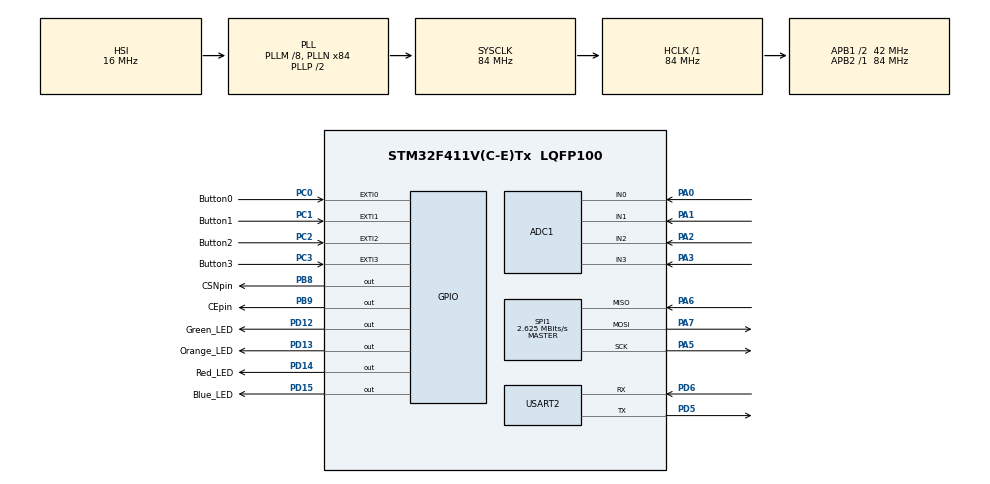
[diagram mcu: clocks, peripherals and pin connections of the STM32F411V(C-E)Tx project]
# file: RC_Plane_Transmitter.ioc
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ADC1.Channel-0\#ChannelRegularConversion=ADC_CHANNEL_0
ADC1.Channel-1\#ChannelRegularConversion=ADC_CHANNEL_1
ADC1.Channel-2\#ChannelRegularConversion=ADC_CHANNEL_2
ADC1.Channel-3\#ChannelRegularConversion=ADC_CHANNEL_3
ADC1.DMAContinuousRequests=ENABLE
ADC1.EOCSelection=ADC_EOC_SEQ_CONV
ADC1.ExternalTrigConv=ADC_EXTERNALTRIGCONV_T2_TRGO
ADC1.InjNumberOfConversion=0
ADC1.NbrOfConversion=4
ADC1.NbrOfConversionFlag=1
ADC1.Rank-0\#ChannelRegularConversion=1
ADC1.Rank-1\#ChannelRegularConversion=2
ADC1.Rank-2\#ChannelRegularConversion=3
ADC1.Rank-3\#ChannelRegularConversion=4
ADC1.SamplingTime-0\#ChannelRegularConversion=ADC_SAMPLETIME_28CYCLES
ADC1.SamplingTime-1\#ChannelRegularConversion=ADC_SAMPLETIME_28CYCLES
ADC1.SamplingTime-2\#ChannelRegularConversion=ADC_SAMPLETIME_28CYCLES
ADC1.SamplingTime-3\#ChannelRegularConversion=ADC_SAMPLETIME_28CYCLES
ADC1.master=1
Dma.ADC1.0.Direction=DMA_PERIPH_TO_MEMORY
Dma.ADC1.0.FIFOMode=DMA_FIFOMODE_DISABLE
Dma.ADC1.0.Instance=DMA2_Stream0
Dma.ADC1.0.MemDataAlignment=DMA_MDATAALIGN_WORD
Dma.ADC1.0.MemInc=DMA_MINC_ENABLE
Dma.ADC1.0.Mode=DMA_CIRCULAR
Dma.ADC1.0.PeriphDataAlignment=DMA_PDATAALIGN_WORD
Dma.ADC1.0.PeriphInc=DMA_PINC_DISABLE
Dma.ADC1.0.Priority=DMA_PRIORITY_HIGH
Dma.Request0=ADC1
Mcu.Family=STM32F4
Mcu.Name=STM32F411V(C-E)Tx
Mcu.Package=LQFP100
NVIC.ADC_IRQn=true\:0\:0\:false\:false\:true\:true\:true
NVIC.DMA2_Stream0_IRQn=true\:0\:0\:false\:false\:true\:false\:true
NVIC.EXTI0_IRQn=true\:0\:0\:false\:false\:true\:true\:true
NVIC.EXTI1_IRQn=true\:0\:0\:false\:false\:true\:true\:true
NVIC.EXTI2_IRQn=true\:0\:0\:false\:false\:true\:true\:true
NVIC.EXTI3_IRQn=true\:0\:0\:false\:false\:true\:true\:true
NVIC.PriorityGroup=NVIC_PRIORITYGROUP_0
NVIC.TIM1_UP_TIM10_IRQn=true\:0\:0\:false\:false\:true\:false\:true
NVIC.TimeBase=TIM1_UP_TIM10_IRQn
NVIC.TimeBaseIP=TIM1
PA0-WKUP.Signal=ADCx_IN0
PA1.Signal=ADCx_IN1
PA2.Signal=ADCx_IN2
PA3.Signal=ADCx_IN3
PA5.Mode=Full_Duplex_Master
PA5.Signal=SPI1_SCK
PA6.Mode=Full_Duplex_Master
PA6.Signal=SPI1_MISO
PA7.Mode=Full_Duplex_Master
PA7.Signal=SPI1_MOSI
PB8.GPIO_Label=CSNpin
PB8.Signal=GPIO_Output
PB9.GPIO_Label=CEpin
PB9.Signal=GPIO_Output
PC0.GPIO_Label=Button0
PC0.Signal=GPXTI0
PC1.GPIO_Label=Button1
PC1.Signal=GPXTI1
PC2.GPIO_Label=Button2
PC2.Signal=GPXTI2
PC3.GPIO_Label=Button3
PC3.Signal=GPXTI3
PD12.GPIO_Label=Green_LED
PD12.Signal=GPIO_Output
PD13.GPIO_Label=Orange_LED
PD13.Signal=GPIO_Output
PD14.GPIO_Label=Red_LED
PD14.Signal=GPIO_Output
PD15.GPIO_Label=Blue_LED
PD15.Signal=GPIO_Output
PD5.Mode=Asynchronous
PD5.Signal=USART2_TX
PD6.Mode=Asynchronous
PD6.Signal=USART2_RX
PH0\ -\ OSC_IN.Mode=HSE-External-Oscillator
PH0\ -\ OSC_IN.Signal=RCC_OSC_IN
PH1\ -\ OSC_OUT.Mode=HSE-External-Oscillator
PH1\ -\ OSC_OUT.Signal=RCC_OSC_OUT
ProjectManager.HeapSize=0x200
ProjectManager.StackSize=0x400
ProjectManager.TargetToolchain=STM32CubeIDE
RCC.48MHZClocksFreq_Value=21000000
RCC.AHBFreq_Value=84000000
RCC.APB1CLKDivider=RCC_HCLK_DIV2
RCC.APB1Freq_Value=42000000
RCC.APB1TimFreq_Value=84000000
RCC.APB2Freq_Value=84000000
RCC.APB2TimFreq_Value=84000000
RCC.CortexFreq_Value=84000000
RCC.HCLKFreq_Value=84000000
RCC.HSE_VALUE=8000000
RCC.HSI_VALUE=16000000
RCC.LSE_VALUE=32768
RCC.PLLI2SM=5
RCC.PLLI2SN=200
RCC.PLLM=8
RCC.PLLN=84
RCC.PLLQ=8
RCC.SYSCLKFreq_VALUE=84000000
RCC.SYSCLKSource=RCC_SYSCLKSOURCE_PLLCLK
RCC.VCOOutputFreq_Value=168000000
SH.ADCx_IN0.0=ADC1_IN0,IN0
SH.ADCx_IN1.0=ADC1_IN1,IN1
SH.ADCx_IN2.0=ADC1_IN2,IN2
SH.ADCx_IN3.0=ADC1_IN3,IN3
SPI1.BaudRatePrescaler=SPI_BAUDRATEPRESCALER_32
SPI1.CalculateBaudRate=2.625 MBits/s
SPI1.Direction=SPI_DIRECTION_2LINES
SPI1.Mode=SPI_MODE_MASTER
SPI1.VirtualType=VM_MASTER
TIM2.Period=1000
TIM2.Prescaler=8400
TIM2.TIM_MasterOutputTrigger=TIM_TRGO_UPDATE
USART2.VirtualMode=VM_ASYNC
VP_SYS_VS_tim1.Mode=TIM1
VP_TIM2_VS_ClockSourceINT.Mode=Internal
board=STM32F411E-DISCO

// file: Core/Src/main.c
/* USER CODE BEGIN Header */
/**
  ******************************************************************************
  * @file           : main.c
  * @brief          : Main program body
  ******************************************************************************
  * @attention
  *
  * <h2><center>&copy; Copyright (c) 2021 STMicroelectronics.
  * All rights reserved.</center></h2>
  *
  * This software component is licensed by ST under Ultimate Liberty license
  * SLA0044, the "License"; You may not use this file except in compliance with
  * the License. You may obtain a copy of the License at:
  *                             www.st.com/SLA0044
  *
  ******************************************************************************
  */
/* USER CODE END Header */
#include "main.h"

/* USER CODE BEGIN Includes */
#include "MY_NRF24.h"
/* USER CODE END Includes */

ADC_HandleTypeDef hadc1;
DMA_HandleTypeDef hdma_adc1;

SPI_HandleTypeDef hspi1;

TIM_HandleTypeDef htim2;

UART_HandleTypeDef huart2;

void SystemClock_Config(void);
static void MX_GPIO_Init(void);
static void MX_USART2_UART_Init(void);
static void MX_ADC1_Init(void);
static void MX_DMA_Init(void);
static void MX_SPI1_Init(void);
static void MX_TIM2_Init(void);

/* USER CODE BEGIN 0 */
uint64_t TxpipeAddrs = 0x11223344AA;
uint32_t adcVal[4];
uint8_t payload[4];

volatile uint8_t mapMin0 = 0;
volatile uint8_t mapMax0 = 180;
volatile uint8_t mapMin1 = 0;
volatile uint8_t mapMax1 = 180;
volatile uint8_t mapMin2 = 0;
volatile uint8_t mapMax2 = 180;
volatile uint8_t mapMin3 = 0;
volatile uint8_t mapMax3 = 180;

int _write(int file, char *outgoing, int len) {
   HAL_UART_Transmit(&huart2, outgoing, len, 100);
   return len;
}

uint8_t map_8Bit(long x, long in_min, long in_max, uint8_t out_min, uint8_t out_max)
{
  return (x - in_min) * (out_max - out_min) / (in_max - in_min) + out_min;
}

void HAL_GPIO_EXTI_Callback(uint16_t GPIO_Pin)
{
	if(GPIO_Pin == Button0_Pin){
		HAL_GPIO_TogglePin( Green_LED_GPIO_Port, Green_LED_Pin);

		uint8_t temp = mapMin0;
		mapMin0 = mapMax0;
		mapMax0 = temp;
	}
	if(GPIO_Pin == Button1_Pin){
		HAL_GPIO_TogglePin( Orange_LED_GPIO_Port, Orange_LED_Pin);

		uint8_t temp = mapMin1;
		mapMin1 = mapMax1;
		mapMax1 = temp;
	}
	if(GPIO_Pin == Button2_Pin){
		HAL_GPIO_TogglePin( Red_LED_GPIO_Port, Red_LED_Pin);

		uint8_t temp = mapMin2;
		mapMin2 = mapMax2;
		mapMax2 = temp;
	}
	if(GPIO_Pin == Button3_Pin){
		HAL_GPIO_TogglePin( Blue_LED_GPIO_Port, Blue_LED_Pin);

		uint8_t temp = mapMin3;
		mapMin3 = mapMax3;
		mapMax3 = temp;
	}

}

void HAL_ADC_ConvCpltCallback(ADC_HandleTypeDef* hadc)
{
  /* Prevent unused argument(s) compilation warning */
  UNUSED(hadc);
}
/* USER CODE END 0 */

int main(void)
{

  /* MCU Configuration--------------------------------------------------------*/

  /* Reset of all peripherals, Initializes the Flash interface and the Systick. */
  HAL_Init();

  /* Configure the system clock */
  SystemClock_Config();

  /* USER CODE BEGIN SysInit */

  //IF YOU ARE HAVING A BUG WITH THE ADC INPUTS
  //MAKE SURE DMA IS INITIALIZED BEFORE ADC
  //THIS HAPPENS AFTER CODE GENERATION

  /* USER CODE END SysInit */

  /* Initialize all configured peripherals */
  MX_GPIO_Init();
  MX_USART2_UART_Init();
  MX_DMA_Init();
  MX_ADC1_Init();

  MX_SPI1_Init();
  MX_TIM2_Init();
  /* USER CODE BEGIN 2 */

  //Start our ADC/DMA Timer
  HAL_TIM_Base_Start(&htim2);

  //Start DMA in circular mode
  HAL_ADC_Start_DMA(&hadc1, adcVal, 4);

  //Initialize NRF24
  NRF24_begin(CEpin_GPIO_Port, CSNpin_Pin, CEpin_Pin, hspi1);
  nrf24_DebugUART_Init(huart2);

  //Print NRF24 Settings
  printRadioSettings();

  //Setup NRF24 for transmitting data
  NRF24_stopListening();
  NRF24_openWritingPipe(TxpipeAddrs);
  NRF24_setAutoAck(false);
  NRF24_setChannel(52);
  NRF24_setPayloadSize(32);

  /* USER CODE END 2 */

  /* Infinite loop */
  while (1)
  {

    /* USER CODE BEGIN 3 */

	printf("0: %d\r\n", map_8Bit(adcVal[0],350, 3600, mapMin0, mapMax0));
	printf("1: %d\r\n", map_8Bit(adcVal[1],350, 3600, mapMin1, mapMax1));
	printf("2: %d\r\n", map_8Bit(adcVal[2],350, 3600, mapMin2, mapMax2));
	printf("3: %d\r\n", map_8Bit(adcVal[3],350, 3600, mapMin3, mapMax3));

	payload[0] = map_8Bit(adcVal[0],350, 3600, mapMin0, mapMax0);
	payload[1] = map_8Bit(adcVal[1],350, 3600, mapMin1, mapMax1);
	payload[2] = map_8Bit(adcVal[2],350, 3600, mapMin2, mapMax2);
	payload[3] = map_8Bit(adcVal[3],350, 3600, mapMin3, mapMax3);

//	uint8_t i;
//	for(i = 0; i < 4; i++){
//		uint8_t mappedVal = map(adcVal[i],350, 3600, mapMin1, mapMax1);
//		printf("%d: %d\r\n", i, mappedVal);
//		payload[i] = mappedVal;
//
//	}
	if(NRF24_write(payload, 32)){
		printf("Transmission successful\r\n");
	}
	HAL_Delay(10);
  }
  /* USER CODE END 3 */
}

void SystemClock_Config(void)
{
  RCC_OscInitTypeDef RCC_OscInitStruct = {0};
  RCC_ClkInitTypeDef RCC_ClkInitStruct = {0};

  /** Configure the main internal regulator output voltage
  */
  __HAL_RCC_PWR_CLK_ENABLE();
  __HAL_PWR_VOLTAGESCALING_CONFIG(PWR_REGULATOR_VOLTAGE_SCALE1);
  /** Initializes the RCC Oscillators according to the specified parameters
  * in the RCC_OscInitTypeDef structure.
  */
  RCC_OscInitStruct.OscillatorType = RCC_OSCILLATORTYPE_HSI;
  RCC_OscInitStruct.HSIState = RCC_HSI_ON;
  RCC_OscInitStruct.HSICalibrationValue = RCC_HSICALIBRATION_DEFAULT;
  RCC_OscInitStruct.PLL.PLLState = RCC_PLL_ON;
  RCC_OscInitStruct.PLL.PLLSource = RCC_PLLSOURCE_HSI;
  RCC_OscInitStruct.PLL.PLLM = 8;
  RCC_OscInitStruct.PLL.PLLN = 84;
  RCC_OscInitStruct.PLL.PLLP = RCC_PLLP_DIV2;
  RCC_OscInitStruct.PLL.PLLQ = 8;
  if (HAL_RCC_OscConfig(&RCC_OscInitStruct) != HAL_OK)
  {
    Error_Handler();
  }
  /** Initializes the CPU, AHB and APB buses clocks
  */
  RCC_ClkInitStruct.ClockType = RCC_CLOCKTYPE_HCLK|RCC_CLOCKTYPE_SYSCLK
                              |RCC_CLOCKTYPE_PCLK1|RCC_CLOCKTYPE_PCLK2;
  RCC_ClkInitStruct.SYSCLKSource = RCC_SYSCLKSOURCE_PLLCLK;
  RCC_ClkInitStruct.AHBCLKDivider = RCC_SYSCLK_DIV1;
  RCC_ClkInitStruct.APB1CLKDivider = RCC_HCLK_DIV2;
  RCC_ClkInitStruct.APB2CLKDivider = RCC_HCLK_DIV1;

  if (HAL_RCC_ClockConfig(&RCC_ClkInitStruct, FLASH_LATENCY_2) != HAL_OK)
  {
    Error_Handler();
  }
}

static void MX_ADC1_Init(void)
{

  ADC_ChannelConfTypeDef sConfig = {0};

  /** Configure the global features of the ADC (Clock, Resolution, Data Alignment and number of conversion)
  */
  hadc1.Instance = ADC1;
  hadc1.Init.ClockPrescaler = ADC_CLOCK_SYNC_PCLK_DIV4;
  hadc1.Init.Resolution = ADC_RESOLUTION_12B;
  hadc1.Init.ScanConvMode = ENABLE;
  hadc1.Init.ContinuousConvMode = DISABLE;
  hadc1.Init.DiscontinuousConvMode = DISABLE;
  hadc1.Init.ExternalTrigConvEdge = ADC_EXTERNALTRIGCONVEDGE_RISING;
  hadc1.Init.ExternalTrigConv = ADC_EXTERNALTRIGCONV_T2_TRGO;
  hadc1.Init.DataAlign = ADC_DATAALIGN_RIGHT;
  hadc1.Init.NbrOfConversion = 4;
  hadc1.Init.DMAContinuousRequests = ENABLE;
  hadc1.Init.EOCSelection = ADC_EOC_SEQ_CONV;
  if (HAL_ADC_Init(&hadc1) != HAL_OK)
  {
    Error_Handler();
  }
  /** Configure for the selected ADC regular channel its corresponding rank in the sequencer and its sample time.
  */
  sConfig.Channel = ADC_CHANNEL_0;
  sConfig.Rank = 1;
  sConfig.SamplingTime = ADC_SAMPLETIME_28CYCLES;
  if (HAL_ADC_ConfigChannel(&hadc1, &sConfig) != HAL_OK)
  {
    Error_Handler();
  }
  /** Configure for the selected ADC regular channel its corresponding rank in the sequencer and its sample time.
  */
  sConfig.Channel = ADC_CHANNEL_1;
  sConfig.Rank = 2;
  if (HAL_ADC_ConfigChannel(&hadc1, &sConfig) != HAL_OK)
  {
    Error_Handler();
  }
  /** Configure for the selected ADC regular channel its corresponding rank in the sequencer and its sample time.
  */
  sConfig.Channel = ADC_CHANNEL_2;
  sConfig.Rank = 3;
  if (HAL_ADC_ConfigChannel(&hadc1, &sConfig) != HAL_OK)
  {
    Error_Handler();
  }
  /** Configure for the selected ADC regular channel its corresponding rank in the sequencer and its sample time.
  */
  sConfig.Channel = ADC_CHANNEL_3;
  sConfig.Rank = 4;
  if (HAL_ADC_ConfigChannel(&hadc1, &sConfig) != HAL_OK)
  {
    Error_Handler();
  }

}

static void MX_SPI1_Init(void)
{

  /* SPI1 parameter configuration*/
  hspi1.Instance = SPI1;
  hspi1.Init.Mode = SPI_MODE_MASTER;
  hspi1.Init.Direction = SPI_DIRECTION_2LINES;
  hspi1.Init.DataSize = SPI_DATASIZE_8BIT;
  hspi1.Init.CLKPolarity = SPI_POLARITY_LOW;
  hspi1.Init.CLKPhase = SPI_PHASE_1EDGE;
  hspi1.Init.NSS = SPI_NSS_SOFT;
  hspi1.Init.BaudRatePrescaler = SPI_BAUDRATEPRESCALER_32;
  hspi1.Init.FirstBit = SPI_FIRSTBIT_MSB;
  hspi1.Init.TIMode = SPI_TIMODE_DISABLE;
  hspi1.Init.CRCCalculation = SPI_CRCCALCULATION_DISABLE;
  hspi1.Init.CRCPolynomial = 10;
  if (HAL_SPI_Init(&hspi1) != HAL_OK)
  {
    Error_Handler();
  }

}

static void MX_TIM2_Init(void)
{

  TIM_ClockConfigTypeDef sClockSourceConfig = {0};
  TIM_MasterConfigTypeDef sMasterConfig = {0};

  htim2.Instance = TIM2;
  htim2.Init.Prescaler = 8400;
  htim2.Init.CounterMode = TIM_COUNTERMODE_UP;
  htim2.Init.Period = 1000;
  htim2.Init.ClockDivision = TIM_CLOCKDIVISION_DIV1;
  htim2.Init.AutoReloadPreload = TIM_AUTORELOAD_PRELOAD_DISABLE;
  if (HAL_TIM_Base_Init(&htim2) != HAL_OK)
  {
    Error_Handler();
  }
  sClockSourceConfig.ClockSource = TIM_CLOCKSOURCE_INTERNAL;
  if (HAL_TIM_ConfigClockSource(&htim2, &sClockSourceConfig) != HAL_OK)
  {
    Error_Handler();
  }
  sMasterConfig.MasterOutputTrigger = TIM_TRGO_UPDATE;
  sMasterConfig.MasterSlaveMode = TIM_MASTERSLAVEMODE_DISABLE;
  if (HAL_TIMEx_MasterConfigSynchronization(&htim2, &sMasterConfig) != HAL_OK)
  {
    Error_Handler();
  }

}

static void MX_USART2_UART_Init(void)
{

  huart2.Instance = USART2;
  huart2.Init.BaudRate = 115200;
  huart2.Init.WordLength = UART_WORDLENGTH_8B;
  huart2.Init.StopBits = UART_STOPBITS_1;
  huart2.Init.Parity = UART_PARITY_NONE;
  huart2.Init.Mode = UART_MODE_TX_RX;
  huart2.Init.HwFlowCtl = UART_HWCONTROL_NONE;
  huart2.Init.OverSampling = UART_OVERSAMPLING_16;
  if (HAL_UART_Init(&huart2) != HAL_OK)
  {
    Error_Handler();
  }

}

static void MX_DMA_Init(void)
{

  /* DMA controller clock enable */
  __HAL_RCC_DMA2_CLK_ENABLE();

  /* DMA interrupt init */
  /* DMA2_Stream0_IRQn interrupt configuration */
  HAL_NVIC_SetPriority(DMA2_Stream0_IRQn, 0, 0);
  HAL_NVIC_EnableIRQ(DMA2_Stream0_IRQn);

}

static void MX_GPIO_Init(void)
{
  GPIO_InitTypeDef GPIO_InitStruct = {0};

  /* GPIO Ports Clock Enable */
  __HAL_RCC_GPIOH_CLK_ENABLE();
  __HAL_RCC_GPIOC_CLK_ENABLE();
  __HAL_RCC_GPIOA_CLK_ENABLE();
  __HAL_RCC_GPIOD_CLK_ENABLE();
  __HAL_RCC_GPIOB_CLK_ENABLE();

  /*Configure GPIO pin Output Level */
  HAL_GPIO_WritePin(GPIOD, Green_LED_Pin|Orange_LED_Pin|Red_LED_Pin|Blue_LED_Pin, GPIO_PIN_RESET);

  /*Configure GPIO pin Output Level */
  HAL_GPIO_WritePin(GPIOB, CSNpin_Pin|CEpin_Pin, GPIO_PIN_RESET);

  /*Configure GPIO pins : Button0_Pin Button1_Pin Button2_Pin Button3_Pin */
  GPIO_InitStruct.Pin = Button0_Pin|Button1_Pin|Button2_Pin|Button3_Pin;
  GPIO_InitStruct.Mode = GPIO_MODE_IT_RISING;
  GPIO_InitStruct.Pull = GPIO_NOPULL;
  HAL_GPIO_Init(GPIOC, &GPIO_InitStruct);

  /*Configure GPIO pins : Green_LED_Pin Orange_LED_Pin Red_LED_Pin Blue_LED_Pin */
  GPIO_InitStruct.Pin = Green_LED_Pin|Orange_LED_Pin|Red_LED_Pin|Blue_LED_Pin;
  GPIO_InitStruct.Mode = GPIO_MODE_OUTPUT_PP;
  GPIO_InitStruct.Pull = GPIO_NOPULL;
  GPIO_InitStruct.Speed = GPIO_SPEED_FREQ_LOW;
  HAL_GPIO_Init(GPIOD, &GPIO_InitStruct);

  /*Configure GPIO pins : CSNpin_Pin CEpin_Pin */
  GPIO_InitStruct.Pin = CSNpin_Pin|CEpin_Pin;
  GPIO_InitStruct.Mode = GPIO_MODE_OUTPUT_PP;
  GPIO_InitStruct.Pull = GPIO_NOPULL;
  GPIO_InitStruct.Speed = GPIO_SPEED_FREQ_LOW;
  HAL_GPIO_Init(GPIOB, &GPIO_InitStruct);

  /* EXTI interrupt init*/
  HAL_NVIC_SetPriority(EXTI0_IRQn, 0, 0);
  HAL_NVIC_EnableIRQ(EXTI0_IRQn);

  HAL_NVIC_SetPriority(EXTI1_IRQn, 0, 0);
  HAL_NVIC_EnableIRQ(EXTI1_IRQn);

  HAL_NVIC_SetPriority(EXTI2_IRQn, 0, 0);
  HAL_NVIC_EnableIRQ(EXTI2_IRQn);

  HAL_NVIC_SetPriority(EXTI3_IRQn, 0, 0);
  HAL_NVIC_EnableIRQ(EXTI3_IRQn);

}

void HAL_TIM_PeriodElapsedCallback(TIM_HandleTypeDef *htim)
{
  if (htim->Instance == TIM1) {
    HAL_IncTick();
  }
}

void Error_Handler(void)
{
  __disable_irq();
  while (1)
  {
  }
}

/************************ (C) COPYRIGHT STMicroelectronics *****END OF FILE****/
